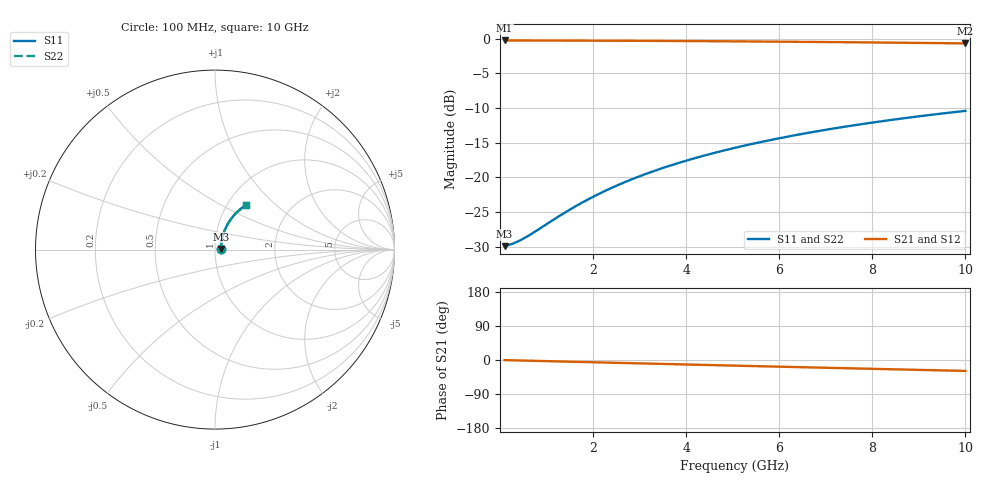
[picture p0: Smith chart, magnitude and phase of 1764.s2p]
# Hz S RI R 50.00
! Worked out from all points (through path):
!   100 points, 100 MHz to 10 GHz, reference 50 ohm
!   highest |S21| = -0.28 dB at 100 MHz (marker M1); lowest = -0.7 dB at 10 GHz (marker M2)
!   group delay of S21, straight-line fit = 8.02 ps
!   lowest |S11| = -29.9 dB at 100 MHz (marker M3), VSWR 1.07, Z = 53.3 + j0.327 ohm
!   |S11| at or under -10 dB: start of sweep to end of sweep
!   |S22| runs from -29.9 to -10.4 dB; largest |S21 - S12| = 0
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1e8  0.0317 0.00306  0.9683 -0.00503  0.9683 -0.00503  0.0317 0.00306
2e8  0.0319 0.00612  0.968 -0.0101  0.968 -0.0101  0.0319 0.00612
3e8  0.0322 0.00918  0.9678 -0.0151  0.9678 -0.0151  0.0322 0.00918
4e8  0.0324 0.0122  0.9676 -0.0201  0.9676 -0.0201  0.0324 0.0122
5e8  0.0326 0.0153  0.9673 -0.0251  0.9673 -0.0251  0.0326 0.0153
7e8  0.0332 0.0214  0.9667 -0.0351  0.9667 -0.0351  0.0332 0.0214
1.4e9  0.0359 0.0426  0.9636 -0.0701  0.9636 -0.0701  0.0359 0.0426
1.8e9  0.0381 0.0546  0.9612 -0.0899  0.9612 -0.0899  0.0381 0.0546
2.2e9  0.0408 0.0664  0.9582 -0.1097  0.9582 -0.1097  0.0408 0.0664
2.6e9  0.0439 0.0782  0.9547 -0.1293  0.9547 -0.1293  0.0439 0.0782
3e9  0.0475 0.0898  0.9506 -0.1487  0.9506 -0.1487  0.0475 0.0898
3.4e9  0.0516 0.1011  0.9461 -0.168  0.9461 -0.168  0.0516 0.1011
3.8e9  0.0561 0.1123  0.941 -0.187  0.941 -0.187  0.0561 0.1123
4.2e9  0.061 0.1233  0.9354 -0.2058  0.9354 -0.2058  0.061 0.1233
4.6e9  0.0664 0.134  0.9294 -0.2244  0.9294 -0.2244  0.0664 0.134
5.1e9  0.0737 0.147  0.9211 -0.2473  0.9211 -0.2473  0.0737 0.147
5.9e9  0.0866 0.1668  0.9065 -0.283  0.9065 -0.283  0.0866 0.1668
6.7e9  0.1009 0.1854  0.8901 -0.3174  0.8901 -0.3174  0.1009 0.1854
7.5e9  0.1165 0.2027  0.8722 -0.3505  0.8722 -0.3505  0.1165 0.2027
8.4e9  0.1355 0.2203  0.8504 -0.386  0.8504 -0.386  0.1355 0.2203
9.2e9  0.1533 0.2344  0.8297 -0.416  0.8297 -0.416  0.1533 0.2344
1e10  0.172 0.2468  0.8079 -0.4444  0.8079 -0.4444  0.172 0.2468
